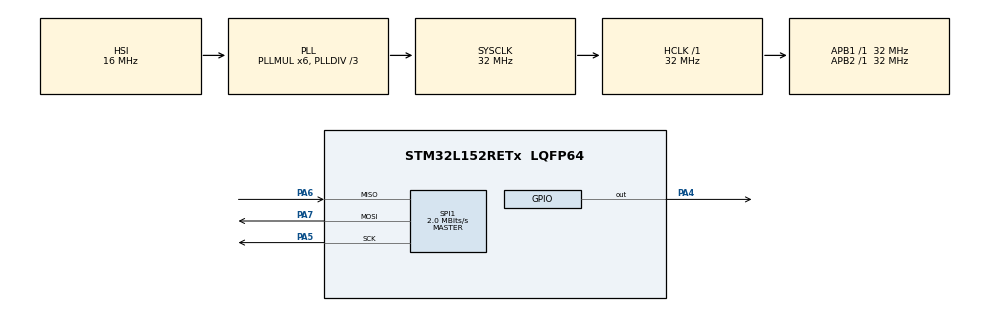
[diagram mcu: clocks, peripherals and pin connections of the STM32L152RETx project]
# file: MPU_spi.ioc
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FREERTOS.Tasks01=defaultTask,0,128,StartDefaultTask,Default,NULL
Mcu.Family=STM32L1
Mcu.Name=STM32L152RETx
Mcu.Package=LQFP64
NVIC.PriorityGroup=NVIC_PRIORITYGROUP_4
NVIC.TIM2_IRQn=true\:0\:0\:false\:false\:true\:false
NVIC.TimeBase=TIM2_IRQn
NVIC.TimeBaseIP=TIM2
PA4.Signal=GPIO_Output
PA5.Mode=Full_Duplex_Master
PA5.Signal=SPI1_SCK
PA6.Mode=Full_Duplex_Master
PA6.Signal=SPI1_MISO
PA7.Mode=Full_Duplex_Master
PA7.Signal=SPI1_MOSI
PH0-OSC_IN.Mode=HSE-External-Oscillator
PH0-OSC_IN.Signal=RCC_OSC_IN
PH1-OSC_OUT.Mode=HSE-External-Oscillator
PH1-OSC_OUT.Signal=RCC_OSC_OUT
ProjectManager.HeapSize=0x200
ProjectManager.StackSize=0x400
ProjectManager.TargetToolchain=MDK-ARM V5
RCC.AHBFreq_Value=32000000
RCC.APB1Freq_Value=32000000
RCC.APB1TimFreq_Value=32000000
RCC.APB2Freq_Value=32000000
RCC.APB2TimFreq_Value=32000000
RCC.HCLKFreq_Value=32000000
RCC.HSE_VALUE=8000000
RCC.HSI_VALUE=16000000
RCC.LSE_VALUE=32768
RCC.MSI_VALUE=2097000
RCC.PLLDIV=RCC_PLL_DIV3
RCC.PLLMUL=RCC_PLL_MUL6
RCC.RTCClockSelectionVirtual=RCC_RTCCLKSOURCE_LSE
RCC.SYSCLKFreq_VALUE=32000000
RCC.SYSCLKSource=RCC_SYSCLKSOURCE_PLLCLK
RCC.USBOutput=48000000
RCC.VCOOutputFreq_Value=96000000
SPI1.BaudRatePrescaler=SPI_BAUDRATEPRESCALER_16
SPI1.CalculateBaudRate=2.0 MBits/s
SPI1.Mode=SPI_MODE_MASTER
VP_FREERTOS_VS_ENABLE.Mode=Enabled
VP_SYS_VS_tim2.Mode=TIM2
board=NUCLEO-L152RE

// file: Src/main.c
/**
  ******************************************************************************
  * File Name          : main.c
  * Description        : Main program body
  ******************************************************************************
  *
  * Copyright (c) 2017 STMicroelectronics International N.V.
  * All rights reserved.
  *
  * Redistribution and use in source and binary forms, with or without
  * modification, are permitted, provided that the following conditions are met:
  *
  * 1. Redistribution of source code must retain the above copyright notice,
  *    this list of conditions and the following disclaimer.
  * 2. Redistributions in binary form must reproduce the above copyright notice,
  *    this list of conditions and the following disclaimer in the documentation
  *    and/or other materials provided with the distribution.
  * 3. Neither the name of STMicroelectronics nor the names of other
  *    contributors to this software may be used to endorse or promote products
  *    derived from this software without specific written permission.
  * 4. This software, including modifications and/or derivative works of this
  *    software, must execute solely and exclusively on microcontroller or
  *    microprocessor devices manufactured by or for STMicroelectronics.
  * 5. Redistribution and use of this software other than as permitted under
  *    this license is void and will automatically terminate your rights under
  *    this license.
  *
  * THIS SOFTWARE IS PROVIDED BY STMICROELECTRONICS AND CONTRIBUTORS "AS IS"
  * AND ANY EXPRESS, IMPLIED OR STATUTORY WARRANTIES, INCLUDING, BUT NOT
  * LIMITED TO, THE IMPLIED WARRANTIES OF MERCHANTABILITY, FITNESS FOR A
  * PARTICULAR PURPOSE AND NON-INFRINGEMENT OF THIRD PARTY INTELLECTUAL PROPERTY
  * RIGHTS ARE DISCLAIMED TO THE FULLEST EXTENT PERMITTED BY LAW. IN NO EVENT
  * SHALL STMICROELECTRONICS OR CONTRIBUTORS BE LIABLE FOR ANY DIRECT, INDIRECT,
  * INCIDENTAL, SPECIAL, EXEMPLARY, OR CONSEQUENTIAL DAMAGES (INCLUDING, BUT NOT
  * LIMITED TO, PROCUREMENT OF SUBSTITUTE GOODS OR SERVICES; LOSS OF USE, DATA,
  * OR PROFITS; OR BUSINESS INTERRUPTION) HOWEVER CAUSED AND ON ANY THEORY OF
  * LIABILITY, WHETHER IN CONTRACT, STRICT LIABILITY, OR TORT (INCLUDING
  * NEGLIGENCE OR OTHERWISE) ARISING IN ANY WAY OUT OF THE USE OF THIS SOFTWARE,
  * EVEN IF ADVISED OF THE POSSIBILITY OF SUCH DAMAGE.
  *
  ******************************************************************************
  */
#include "main.h"
#include "stm32l1xx_hal.h"
#include "cmsis_os.h"

/* USER CODE BEGIN Includes */

#define ITM_Port8(n)    (*((volatile unsigned char *)(0xE0000000+4*n)))
#define ITM_Port16(n)   (*((volatile unsigned short*)(0xE0000000+4*n)))
#define ITM_Port32(n)   (*((volatile unsigned long *)(0xE0000000+4*n)))

#define DEMCR           (*((volatile unsigned long *)(0xE000EDFC)))
#define TRCENA          0x01000000
/* USER CODE END Includes */

SPI_HandleTypeDef hspi1;

osThreadId defaultTaskHandle;

/* USER CODE BEGIN PV */
/* Private variables ---------------------------------------------------------*/

/* USER CODE END PV */

void SystemClock_Config(void);
void Error_Handler(void);
static void MX_GPIO_Init(void);
static void MX_SPI1_Init(void);
void StartDefaultTask(void const * argument);

/* USER CODE BEGIN PFP */
/* Private function prototypes -----------------------------------------------*/

/* USER CODE END PFP */

/* USER CODE BEGIN 0 */

struct __FILE { int handle; /* Add whatever needed */ };
FILE __stdout;
FILE __stdin;

int fputc(int ch, FILE *f) {
  if (DEMCR & TRCENA) {
    while (ITM_Port32(0) == 0);
    ITM_Port8(0) = ch;
  }
  return(ch);
}

/* USER CODE END 0 */

int main(void)
{

  /* USER CODE BEGIN 1 */

/*
	int16_t raw_acc_x;
    int16_t raw_acc_y;
    int16_t raw_acc_z;
    int16_t raw_gyro_x;
    int16_t raw_gyro_y;
    int16_t raw_gyro_z;
    int16_t raw_mag_x;
    int16_t raw_mag_y;
    int16_t raw_mag_z;
	*/
  /* USER CODE END 1 */

  /* MCU Configuration----------------------------------------------------------*/

  /* Reset of all peripherals, Initializes the Flash interface and the Systick. */
  HAL_Init();

  /* Configure the system clock */
  SystemClock_Config();

  /* Initialize all configured peripherals */
  MX_GPIO_Init();
  MX_SPI1_Init();

  /* USER CODE BEGIN 2 */
  uint8_t Data_rx, address;
  uint8_t val = 0x80;
  uint8_t address1 = 0x6B;

  // transmit plan:
  //1.bring the cs pin to low to activate the slave device
  //2.transmit adress
  //3.transmit the data to write to register
  //4 bring the cs pin to high again

  HAL_GPIO_WritePin(GPIOA, GPIO_PIN_4, GPIO_PIN_RESET); //cs low
  HAL_SPI_Transmit(&hspi1, address1, 0, 50); //device is on sleep mode  (Required; see Note on p. 9)
  HAL_SPI_Transmit(&hspi1, 0x1B, 0x00, 50); // setting gyro to full scale +/- 250deg./s
  HAL_SPI_Transmit(&hspi1, 0x1C, 0x00, 50); // setting accel to +/- 2g
  HAL_GPIO_WritePin(GPIOA, GPIO_PIN_4, GPIO_PIN_SET); //cs high

  //receive
  //1.bring the cs pin to low to activate the slave device
  //2.transmit adress + 0x80 to read from it
  //3.receive data
  //4 bring the cs pin to high again

   HAL_GPIO_WritePin(GPIOA, GPIO_PIN_4, GPIO_PIN_RESET); //cs low
   HAL_SPI_Transmit(&hspi1, 0x3B + val, 1, 50);
   HAL_SPI_Receive(&hspi1, data_rx, 1, 50);
   HAL_GPIO_WritePin(GPIOA, GPIO_PIN_4, GPIO_PIN_SET); //cs high

printf("hello world \n");
  /* USER CODE END 2 */

  /* Create the thread(s) */
  /* definition and creation of defaultTask */
  osThreadDef(defaultTask, StartDefaultTask, osPriorityNormal, 0, 128);
  defaultTaskHandle = osThreadCreate(osThread(defaultTask), NULL);

  /* Start scheduler */
  osKernelStart();

  /* We should never get here as control is now taken by the scheduler */

  /* Infinite loop */
  while (1)
  {

  /* USER CODE BEGIN 3 */

	 printf("_mpu9250_data_t");
  }
  /* USER CODE END 3 */

}

/** System Clock Configuration
*/
void SystemClock_Config(void)
{

  RCC_OscInitTypeDef RCC_OscInitStruct;
  RCC_ClkInitTypeDef RCC_ClkInitStruct;

    /**Configure the main internal regulator output voltage
    */
  __HAL_PWR_VOLTAGESCALING_CONFIG(PWR_REGULATOR_VOLTAGE_SCALE1);

    /**Initializes the CPU, AHB and APB busses clocks
    */
  RCC_OscInitStruct.OscillatorType = RCC_OSCILLATORTYPE_HSI;
  RCC_OscInitStruct.HSIState = RCC_HSI_ON;
  RCC_OscInitStruct.HSICalibrationValue = 16;
  RCC_OscInitStruct.PLL.PLLState = RCC_PLL_ON;
  RCC_OscInitStruct.PLL.PLLSource = RCC_PLLSOURCE_HSI;
  RCC_OscInitStruct.PLL.PLLMUL = RCC_PLL_MUL6;
  RCC_OscInitStruct.PLL.PLLDIV = RCC_PLL_DIV3;
  if (HAL_RCC_OscConfig(&RCC_OscInitStruct) != HAL_OK)
  {
    Error_Handler();
  }

    /**Initializes the CPU, AHB and APB busses clocks
    */
  RCC_ClkInitStruct.ClockType = RCC_CLOCKTYPE_HCLK|RCC_CLOCKTYPE_SYSCLK
                              |RCC_CLOCKTYPE_PCLK1|RCC_CLOCKTYPE_PCLK2;
  RCC_ClkInitStruct.SYSCLKSource = RCC_SYSCLKSOURCE_PLLCLK;
  RCC_ClkInitStruct.AHBCLKDivider = RCC_SYSCLK_DIV1;
  RCC_ClkInitStruct.APB1CLKDivider = RCC_HCLK_DIV1;
  RCC_ClkInitStruct.APB2CLKDivider = RCC_HCLK_DIV1;

  if (HAL_RCC_ClockConfig(&RCC_ClkInitStruct, FLASH_LATENCY_1) != HAL_OK)
  {
    Error_Handler();
  }

    /**Configure the Systick interrupt time
    */
  HAL_SYSTICK_Config(HAL_RCC_GetHCLKFreq()/1000);

    /**Configure the Systick
    */
  HAL_SYSTICK_CLKSourceConfig(SYSTICK_CLKSOURCE_HCLK);

  /* SysTick_IRQn interrupt configuration */
  HAL_NVIC_SetPriority(SysTick_IRQn, 15, 0);
}

/* SPI1 init function */
static void MX_SPI1_Init(void)
{

  hspi1.Instance = SPI1;
  hspi1.Init.Mode = SPI_MODE_MASTER;
  hspi1.Init.Direction = SPI_DIRECTION_2LINES;
  hspi1.Init.DataSize = SPI_DATASIZE_8BIT;
  hspi1.Init.CLKPolarity = SPI_POLARITY_LOW;
  hspi1.Init.CLKPhase = SPI_PHASE_1EDGE;
  hspi1.Init.NSS = SPI_NSS_SOFT;
  hspi1.Init.BaudRatePrescaler = SPI_BAUDRATEPRESCALER_16;
  hspi1.Init.FirstBit = SPI_FIRSTBIT_MSB;
  hspi1.Init.TIMode = SPI_TIMODE_DISABLE;
  hspi1.Init.CRCCalculation = SPI_CRCCALCULATION_DISABLE;
  hspi1.Init.CRCPolynomial = 10;
  if (HAL_SPI_Init(&hspi1) != HAL_OK)
  {
    Error_Handler();
  }

}

/** Configure pins as
        * Analog
        * Input
        * Output
        * EVENT_OUT
        * EXTI
*/
static void MX_GPIO_Init(void)
{

  GPIO_InitTypeDef GPIO_InitStruct;

  /* GPIO Ports Clock Enable */
  __HAL_RCC_GPIOH_CLK_ENABLE();
  __HAL_RCC_GPIOA_CLK_ENABLE();

  /*Configure GPIO pin Output Level */
  HAL_GPIO_WritePin(GPIOA, GPIO_PIN_4, GPIO_PIN_RESET);

  /*Configure GPIO pin : PA4 */
  GPIO_InitStruct.Pin = GPIO_PIN_4;
  GPIO_InitStruct.Mode = GPIO_MODE_OUTPUT_PP;
  GPIO_InitStruct.Pull = GPIO_NOPULL;
  GPIO_InitStruct.Speed = GPIO_SPEED_FREQ_LOW;
  HAL_GPIO_Init(GPIOA, &GPIO_InitStruct);

}

/* StartDefaultTask function */
void StartDefaultTask(void const * argument)
{

  for(;;)
  {
    osDelay(1);
  }
}

void HAL_TIM_PeriodElapsedCallback(TIM_HandleTypeDef *htim)
{
  if (htim->Instance == TIM2) {
    HAL_IncTick();
  }
}

void Error_Handler(void)
{
  while(1)
  {
  }
}

/************************ (C) COPYRIGHT STMicroelectronics *****END OF FILE****/
